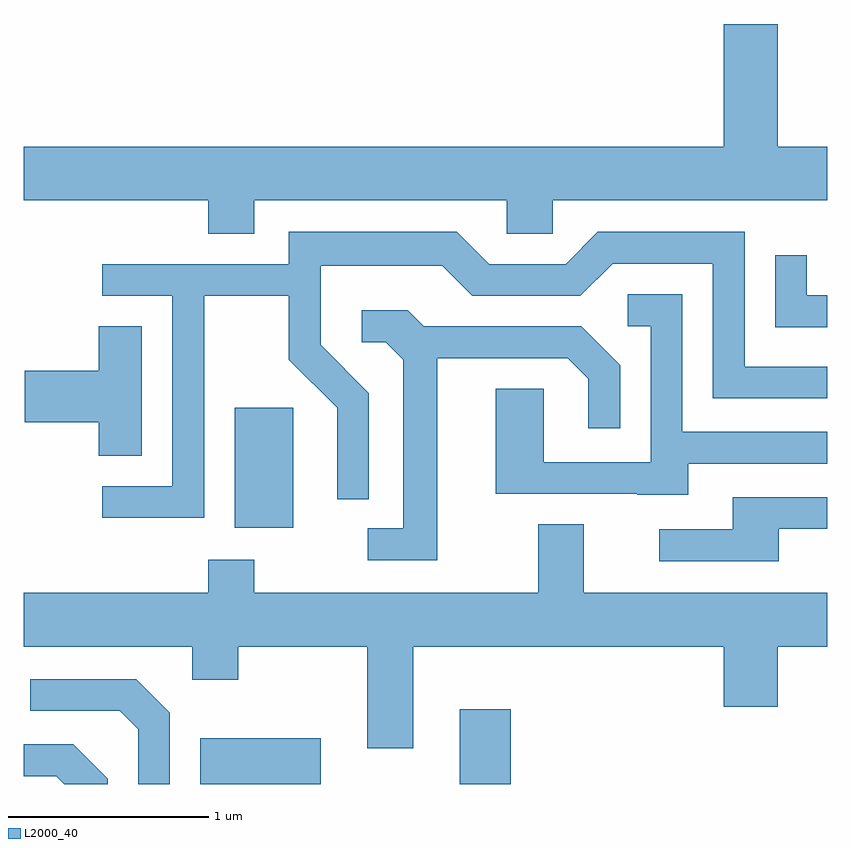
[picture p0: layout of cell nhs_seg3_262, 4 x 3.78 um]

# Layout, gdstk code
import gdstk
lib = gdstk.Library(unit=1e-6, precision=1e-09)
def R(c, l, rs):  # rectangles x0, y0, x1, y1
    for r in rs: c.add(gdstk.rectangle(r[:2], r[2:], *l))
def P(c, l, *ps):  # polygons
    for p in ps: c.add(gdstk.Polygon(p, *l))
L2000_40 = (2000, 40)

nhs_seg3_262 = lib.new_cell('nhs_seg3_262')
R(nhs_seg3_262, L2000_40, [(192.491,1231.892,193.089,1232.119), (193.781,1231.892,194.034,1232.264), (192.661,1233.166,192.954,1233.764)])
P(nhs_seg3_262, L2000_40, [(192.759,1234.796),(194.016,1234.796),(194.016,1234.631),(194.244,1234.631),(194.244,1234.796),(195.611,1234.796),(195.611,1235.064),(195.364,1235.064),(195.364,1235.674),(195.096,1235.674),(195.096,1235.064),(191.611,1235.064),(191.611,1234.796),(192.531,1234.796),(192.531,1234.631),(192.759,1234.631)],
  [(192.509,1234.321),(192.931,1234.321),(192.931,1234.004),(193.171,1233.764),(193.171,1233.308),(193.329,1233.308),(193.329,1233.837),(193.089,1234.077),(193.089,1234.471),(193.694,1234.471),(193.844,1234.321),(194.382,1234.321),(194.542,1234.481),(195.041,1234.481),(195.041,1233.811),(195.611,1233.811),(195.611,1233.969),(195.199,1233.969),(195.199,1234.639),(194.469,1234.639),(194.309,1234.479),(193.927,1234.479),(193.767,1234.639),(192.931,1234.639),(192.931,1234.479),(192.003,1234.479),(192.003,1234.321),(192.351,1234.321),(192.351,1233.374),(192.003,1233.374),(192.003,1233.216),(192.509,1233.216)],
  [(195.611,1234.324),(195.509,1234.324),(195.509,1234.523),(195.351,1234.523),(195.351,1234.166),(195.611,1234.166)],
  [(194.919,1233.486),(195.611,1233.486),(195.611,1233.644),(194.889,1233.644),(194.889,1234.329),(194.618,1234.329),(194.618,1234.171),(194.731,1234.171),(194.731,1233.494),(194.199,1233.494),(194.199,1233.859),(193.961,1233.859),(193.961,1233.336),(194.665,1233.336),(194.665,1233.331),(194.919,1233.331)],
  [(193.669,1234.011),(194.319,1234.011),(194.421,1233.909),(194.421,1233.663),(194.579,1233.663),(194.579,1233.977),(194.387,1234.169),(193.602,1234.169),(193.522,1234.249),(193.293,1234.249),(193.293,1234.091),(193.414,1234.091),(193.501,1234.004),(193.501,1233.164),(193.323,1233.164),(193.323,1233.006),(193.669,1233.006)],
  [(192.199,1234.169),(191.986,1234.169),(191.986,1233.949),(191.616,1233.949),(191.616,1233.691),(191.986,1233.691),(191.986,1233.526),(192.199,1233.526)],
  [(195.369,1233.161),(195.611,1233.161),(195.611,1233.319),(195.141,1233.319),(195.141,1233.159),(194.773,1233.159),(194.773,1233.001),(195.369,1233.001)],
  [(193.549,1232.576),(195.096,1232.576),(195.096,1232.276),(195.364,1232.276),(195.364,1232.576),(195.611,1232.576),(195.611,1232.844),(194.399,1232.844),(194.399,1233.184),(194.171,1233.184),(194.171,1232.844),(192.759,1232.844),(192.759,1233.009),(192.531,1233.009),(192.531,1232.844),(191.611,1232.844),(191.611,1232.576),(192.451,1232.576),(192.451,1232.411),(192.679,1232.411),(192.679,1232.576),(193.321,1232.576),(193.321,1232.071),(193.549,1232.071)],
  [(192.339,1232.247),(192.172,1232.414),(191.643,1232.414),(191.643,1232.256),(192.089,1232.256),(192.181,1232.164),(192.181,1231.892),(192.339,1231.892)],
  [(192.029,1231.917),(191.857,1232.089),(191.611,1232.089),(191.611,1231.931),(191.774,1231.931),(191.813,1231.892),(192.029,1231.892)])

lib.write_gds('nhs_seg3_262.gds')
